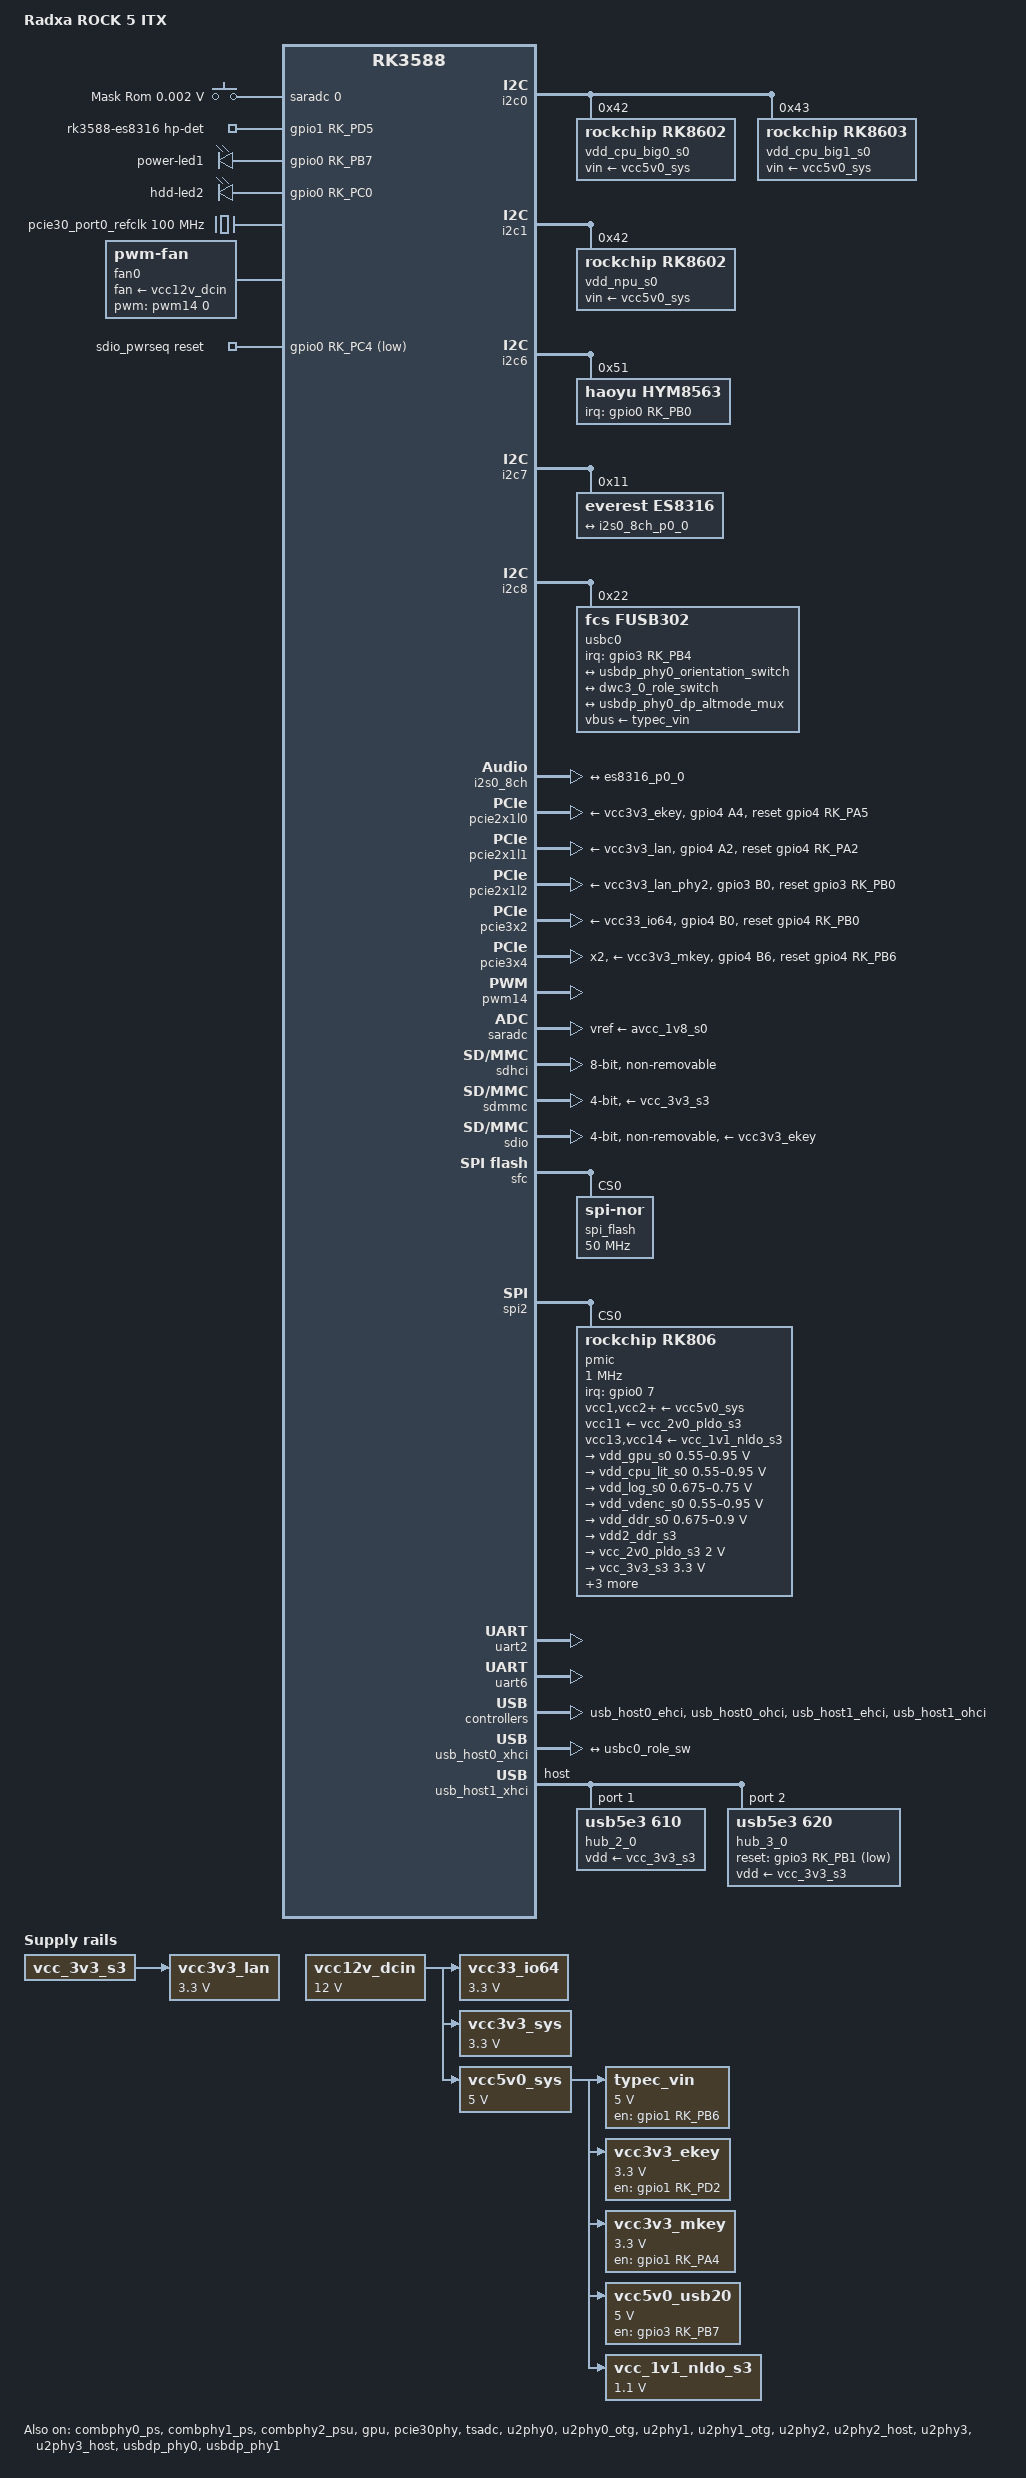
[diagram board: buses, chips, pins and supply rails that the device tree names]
// SPDX-License-Identifier: (GPL-2.0+ OR MIT)
/*
 * Copyright (c) 2024 Radxa Limited
 * Copyright (c) 2024 Heiko Stuebner <heiko@sntech.de>
 */

/dts-v1/;

#include <dt-bindings/gpio/gpio.h>
#include <dt-bindings/input/input.h>
#include <dt-bindings/leds/common.h>
#include <dt-bindings/pinctrl/rockchip.h>
#include <dt-bindings/pwm/pwm.h>
#include "dt-bindings/usb/pd.h"
#include "rk3588.dtsi"

/ {
	model = "Radxa ROCK 5 ITX";
	compatible = "radxa,rock-5-itx", "rockchip,rk3588";

	aliases {
		mmc0 = &sdhci;
		mmc1 = &sdmmc;
		mmc2 = &sdio;
	};

	chosen {
		stdout-path = "serial2:1500000n8";
	};

	adc_keys: adc-keys {
		compatible = "adc-keys";
		io-channels = <&saradc 0>;
		io-channel-names = "buttons";
		keyup-threshold-microvolt = <1800000>;
		poll-interval = <100>;

		button-maskrom {
			label = "Mask Rom";
			linux,code = <KEY_SETUP>;
			press-threshold-microvolt = <1750>;
		};
	};

	analog-sound {
		compatible = "audio-graph-card";
		label = "rk3588-es8316";
		dais = <&i2s0_8ch_p0>;
		hp-det-gpios = <&gpio1 RK_PD5 GPIO_ACTIVE_HIGH>;
		pinctrl-names = "default";
		pinctrl-0 = <&hp_detect>;
		routing = "MIC2", "Mic Jack",
			  "Headphones", "HPOL",
			  "Headphones", "HPOR";
		widgets = "Microphone", "Mic Jack",
			  "Headphone", "Headphones";
	};

	gpio-leds {
		compatible = "gpio-leds";
		pinctrl-names = "default";
		pinctrl-0 = <&led_pins>;

		power-led1 {
			gpios = <&gpio0 RK_PB7 GPIO_ACTIVE_HIGH>;
			linux,default-trigger = "default-on";
		};

		hdd-led2 {
			gpios = <&gpio0 RK_PC0 GPIO_ACTIVE_HIGH>;
			linux,default-trigger = "disk-activity";
		};
	};

	/* Unnamed gated oscillator: 100MHz,3.3V,3225 */
	pcie30_port0_refclk: pcie30_port1_refclk: pcie-oscillator {
		compatible = "gated-fixed-clock";
		#clock-cells = <0>;
		clock-frequency = <100000000>;
		clock-output-names = "pcie30_refclk";
		vdd-supply = <&vcc3v3_pi6c_05>;
	};

	fan0: pwm-fan {
		compatible = "pwm-fan";
		#cooling-cells = <2>;
		cooling-levels = <0 64 128 192 255>;
		fan-supply = <&vcc12v_dcin>;
		pwms = <&pwm14 0 10000 0>;
	};

	/* M.2 E-KEY */
	sdio_pwrseq: sdio-pwrseq {
		compatible = "mmc-pwrseq-simple";
		clocks = <&hym8563>;
		clock-names = "ext_clock";
		pinctrl-names = "default";
		pinctrl-0 = <&wifi_enable_h>;
		reset-gpios = <&gpio0 RK_PC4 GPIO_ACTIVE_LOW>;
	};

	typec_vin: regulator-typec-vin {
		compatible = "regulator-fixed";
		enable-active-high;
		gpio = <&gpio1 RK_PB6 GPIO_ACTIVE_HIGH>;
		pinctrl-names = "default";
		pinctrl-0 = <&vbus5v0_typec_en>;
		regulator-name = "typec_vin";
		regulator-min-microvolt = <5000000>;
		regulator-max-microvolt = <5000000>;
		vin-supply = <&vcc5v0_sys>;
	};

	vcc12v_dcin: regulator-vcc12v-dcin {
		compatible = "regulator-fixed";
		regulator-name = "vcc12v_dcin";
		regulator-always-on;
		regulator-boot-on;
		regulator-min-microvolt = <12000000>;
		regulator-max-microvolt = <12000000>;
	};

	vcc33_io64: regulator-vcc33-io64 {
		compatible = "regulator-fixed";
		regulator-name = "vcc33_io64";
		regulator-always-on;
		regulator-boot-on;
		regulator-min-microvolt = <3300000>;
		regulator-max-microvolt = <3300000>;
		vin-supply = <&vcc12v_dcin>;
	};

	vcc3v3_ekey: regulator-vcc3v3-ekey {
		compatible = "regulator-fixed";
		enable-active-high;
		gpios = <&gpio1 RK_PD2 GPIO_ACTIVE_HIGH>;
		pinctrl-names = "default";
		pinctrl-0 = <&ekey_en>;
		regulator-name = "vcc3v3_ekey";
		regulator-always-on;
		regulator-boot-on;
		regulator-min-microvolt = <3300000>;
		regulator-max-microvolt = <3300000>;
		startup-delay-us = <50000>;
		vin-supply = <&vcc5v0_sys>;
	};

	vcc3v3_lan: vcc3v3_lan_phy2: regulator-vcc3v3-lan {
		compatible = "regulator-fixed";
		regulator-name = "vcc3v3_lan";
		regulator-always-on;
		regulator-boot-on;
		regulator-min-microvolt = <3300000>;
		regulator-max-microvolt = <3300000>;
		vin-supply = <&vcc_3v3_s3>;
	};

	/* The PCIE30x4_PWREN_H controls two regulators */
	vcc3v3_mkey: vcc3v3_pi6c_05: regulator-vcc3v3-pi6c-05 {
		compatible = "regulator-fixed";
		enable-active-high;
		gpios = <&gpio1 RK_PA4 GPIO_ACTIVE_HIGH>;
		pinctrl-names = "default";
		pinctrl-0 = <&pcie30x4_pwren_h>;
		regulator-name = "vcc3v3_pi6c_05";
		regulator-min-microvolt = <3300000>;
		regulator-max-microvolt = <3300000>;
		startup-delay-us = <5000>;
		vin-supply = <&vcc5v0_sys>;
	};

	vcc3v3_sys: regulator-vcc3v3-sys {
		compatible = "regulator-fixed";
		regulator-name = "vcc3v3_sys";
		regulator-always-on;
		regulator-boot-on;
		regulator-min-microvolt = <3300000>;
		regulator-max-microvolt = <3300000>;
		vin-supply = <&vcc12v_dcin>;
	};

	vcc5v0_sys: regulator-vcc5v0-sys {
		compatible = "regulator-fixed";
		regulator-name = "vcc5v0_sys";
		regulator-always-on;
		regulator-boot-on;
		regulator-min-microvolt = <5000000>;
		regulator-max-microvolt = <5000000>;
		vin-supply = <&vcc12v_dcin>;
	};

	vcc5v0_usb20: vcc5v0_usb12: vcc5v0_usb34: regulator-vcc5v0-usb {
		compatible = "regulator-fixed";
		enable-active-high;
		gpio = <&gpio3 RK_PB7 GPIO_ACTIVE_HIGH>;
		pinctrl-names = "default";
		pinctrl-0 = <&usb_host_pwren_h>;
		regulator-name = "vcc5v0_usb";
		regulator-min-microvolt = <5000000>;
		regulator-max-microvolt = <5000000>;
		vin-supply = <&vcc5v0_sys>;
	};

	vcc_1v1_nldo_s3: regulator-vcc-1v1-nldo-s3 {
		compatible = "regulator-fixed";
		regulator-name = "vcc_1v1_nldo_s3";
		regulator-always-on;
		regulator-boot-on;
		regulator-min-microvolt = <1100000>;
		regulator-max-microvolt = <1100000>;
		vin-supply = <&vcc5v0_sys>;
	};
};

&combphy0_ps {
	status = "okay";
};

&combphy1_ps {
	status = "okay";
};

&combphy2_psu {
	status = "okay";
};

&cpu_b0 {
	cpu-supply = <&vdd_cpu_big0_s0>;
};

&cpu_b1 {
	cpu-supply = <&vdd_cpu_big0_s0>;
};

&cpu_b2 {
	cpu-supply = <&vdd_cpu_big1_s0>;
};

&cpu_b3 {
	cpu-supply = <&vdd_cpu_big1_s0>;
};

&cpu_l0 {
	cpu-supply = <&vdd_cpu_lit_s0>;
};

&cpu_l1 {
	cpu-supply = <&vdd_cpu_lit_s0>;
};

&cpu_l2 {
	cpu-supply = <&vdd_cpu_lit_s0>;
};

&cpu_l3 {
	cpu-supply = <&vdd_cpu_lit_s0>;
};

&gpu {
	mali-supply = <&vdd_gpu_s0>;
	status = "okay";
};

&i2c0 {
	pinctrl-names = "default";
	pinctrl-0 = <&i2c0m2_xfer>;
	status = "okay";

	vdd_cpu_big0_s0: regulator@42 {
		compatible = "rockchip,rk8602";
		reg = <0x42>;
		fcs,suspend-voltage-selector = <1>;
		regulator-name = "vdd_cpu_big0_s0";
		regulator-always-on;
		regulator-boot-on;
		regulator-min-microvolt = <550000>;
		regulator-max-microvolt = <1050000>;
		regulator-ramp-delay = <2300>;
		vin-supply = <&vcc5v0_sys>;

		regulator-state-mem {
			regulator-off-in-suspend;
		};
	};

	vdd_cpu_big1_s0: regulator@43 {
		compatible = "rockchip,rk8603", "rockchip,rk8602";
		reg = <0x43>;
		fcs,suspend-voltage-selector = <1>;
		regulator-name = "vdd_cpu_big1_s0";
		regulator-always-on;
		regulator-boot-on;
		regulator-min-microvolt = <550000>;
		regulator-max-microvolt = <1050000>;
		regulator-ramp-delay = <2300>;
		vin-supply = <&vcc5v0_sys>;

		regulator-state-mem {
			regulator-off-in-suspend;
		};
	};
};

&i2c1 {
	pinctrl-names = "default";
	pinctrl-0 = <&i2c1m2_xfer>;
	status = "okay";

	vdd_npu_s0: regulator@42 {
		compatible = "rockchip,rk8602";
		reg = <0x42>;
		fcs,suspend-voltage-selector = <1>;
		regulator-name = "vdd_npu_s0";
		regulator-always-on;
		regulator-boot-on;
		regulator-min-microvolt = <550000>;
		regulator-max-microvolt = <950000>;
		regulator-ramp-delay = <2300>;
		vin-supply = <&vcc5v0_sys>;

		regulator-state-mem {
			regulator-off-in-suspend;
		};
	};
};

/* CAM0 connector */
&i2c3 {
	pinctrl-names = "default";
	pinctrl-0 = <&i2c3m0_xfer>;
};

/* M.2 E-key */
&i2c4 {
	pinctrl-names = "default";
	pinctrl-0 = <&i2c4m1_xfer>;
};

/* RTC and LCD0 connector */
&i2c6 {
	pinctrl-names = "default";
	pinctrl-0 = <&i2c6m0_xfer>;
	status = "okay";

	hym8563: rtc@51 {
		compatible = "haoyu,hym8563";
		reg = <0x51>;
		#clock-cells = <0>;
		clock-output-names = "wifi_32kout";
		interrupt-parent = <&gpio0>;
		interrupts = <RK_PB0 IRQ_TYPE_LEVEL_LOW>;
		pinctrl-names = "default";
		pinctrl-0 = <&rtc_int>;
	};
};

/* Audio codec and CAM1 connector */
&i2c7 {
	pinctrl-names = "default";
	pinctrl-0 = <&i2c7m0_xfer>;
	status = "okay";

	es8316: audio-codec@11 {
		compatible = "everest,es8316";
		reg = <0x11>;
		assigned-clocks = <&cru I2S0_8CH_MCLKOUT>;
		assigned-clock-rates = <12288000>;
		clocks = <&cru I2S0_8CH_MCLKOUT>;
		clock-names = "mclk";
		#sound-dai-cells = <0>;

		port {
			es8316_p0_0: endpoint {
				remote-endpoint = <&i2s0_8ch_p0_0>;
			};
		};
	};
};

/* FUSB302 and LCD1 connector */
&i2c8 {
	pinctrl-names = "default";
	pinctrl-0 = <&i2c8m4_xfer>;
	status = "okay";

	usbc0: usb-typec@22 {
		compatible = "fcs,fusb302";
		reg = <0x22>;
		interrupt-parent = <&gpio3>;
		interrupts = <RK_PB4 IRQ_TYPE_LEVEL_LOW>;
		pinctrl-names = "default";
		pinctrl-0 = <&usbc0_int>;
		vbus-supply = <&typec_vin>;

		usb_con: connector {
			compatible = "usb-c-connector";
			data-role = "dual";
			label = "USB-C";
			power-role = "source";
			source-pdos =
				<PDO_FIXED(5000, 3000, PDO_FIXED_USB_COMM)>;

			ports {
				#address-cells = <1>;
				#size-cells = <0>;

				port@0 {
					reg = <0>;

					usbc0_orien_sw: endpoint {
						remote-endpoint = <&usbdp_phy0_orientation_switch>;
					};
				};

				port@1 {
					reg = <1>;

					usbc0_role_sw: endpoint {
						remote-endpoint = <&dwc3_0_role_switch>;
					};
				};

				port@2 {
					reg = <2>;

					dp_altmode_mux: endpoint {
						remote-endpoint = <&usbdp_phy0_dp_altmode_mux>;
					};
				};
			};
		};
	};
};

&i2c8m4_xfer {
	rockchip,pins =
		/* i2c8_scl_m4 */
		<3 RK_PC2 9 &pcfg_pull_up_drv_level_6>,
		/* i2c8_sda_m4 */
		<3 RK_PC3 9 &pcfg_pull_up_drv_level_6>;
};

&i2s0_8ch {
	pinctrl-names = "default";
	pinctrl-0 = <&i2s0_lrck
		     &i2s0_mclk
		     &i2s0_sclk
		     &i2s0_sdi0
		     &i2s0_sdo0>;
	status = "okay";

	i2s0_8ch_p0: port {
		i2s0_8ch_p0_0: endpoint {
			dai-format = "i2s";
			mclk-fs = <256>;
			remote-endpoint = <&es8316_p0_0>;
		};
	};
};

&package_thermal {
	polling-delay = <1000>;

	trips {
		package_fan0: package-fan0 {
			hysteresis = <2000>;
			temperature = <50000>;
			type = "active";
		};

		package_fan1: package-fan1 {
			hysteresis = <2000>;
			temperature = <65000>;
			type = "active";
		};
	};

	cooling-maps {
		map0 {
			cooling-device = <&fan0 THERMAL_NO_LIMIT 1>;
			trip = <&package_fan0>;
		};
		map1 {
			cooling-device = <&fan0 2 THERMAL_NO_LIMIT>;
			trip = <&package_fan1>;
		};
	};
};

/* M.2 E-key */
&pcie2x1l0 {
	pinctrl-names = "default";
	pinctrl-0 = <&pcie30x1_0_perstn_m1_l>;
	reset-gpios = <&gpio4 RK_PA5 GPIO_ACTIVE_HIGH>;
	vpcie3v3-supply = <&vcc3v3_ekey>;
	status = "okay";
};

/* RTL8125B_1 */
&pcie2x1l1 {
	pinctrl-names = "default";
	pinctrl-0 = <&pcie30x1_1_perstn>;
	reset-gpios = <&gpio4 RK_PA2 GPIO_ACTIVE_HIGH>;
	vpcie3v3-supply = <&vcc3v3_lan>;
	status = "okay";
};

/* RTL8125B_2 */
&pcie2x1l2 {
	pinctrl-names = "default";
	pinctrl-0 = <&pcie20x1_2_perstn>;
	reset-gpios = <&gpio3 RK_PB0 GPIO_ACTIVE_HIGH>;
	vpcie3v3-supply = <&vcc3v3_lan_phy2>;
	status = "okay";
};

&pcie30phy {
	data-lanes = <1 1 2 2>;
	/* separate clock lines from the clock generator to phy and devices */
	rockchip,rx-common-refclk-mode = <0 0 0 0>;
	status = "okay";
};

/* ASMedia ASM1164 Sata controller */
&pcie3x2 {
	/*
	 * The board has a "pcie_refclk" oscillator that needs enabling,
	 * so add it to the list of clocks.
	 */
	clocks = <&cru ACLK_PCIE_2L_MSTR>, <&cru ACLK_PCIE_2L_SLV>,
		 <&cru ACLK_PCIE_2L_DBI>, <&cru PCLK_PCIE_2L>,
		 <&cru CLK_PCIE_AUX1>, <&cru CLK_PCIE2L_PIPE>,
		 <&pcie30_port1_refclk>;
	clock-names = "aclk_mst", "aclk_slv",
		      "aclk_dbi", "pclk",
		      "aux", "pipe",
		      "ref";
	pinctrl-names = "default";
	pinctrl-0 = <&pcie30x2_perstn_m1_l>;
	reset-gpios = <&gpio4 RK_PB0 GPIO_ACTIVE_HIGH>;
	vpcie3v3-supply = <&vcc33_io64>;
	status = "okay";
};

/* M.2 M.key */
&pcie3x4 {
	/*
	 * The board has a "pcie_refclk" oscillator that needs enabling,
	 * so add it to the list of clocks.
	 */
	clocks = <&cru ACLK_PCIE_4L_MSTR>, <&cru ACLK_PCIE_4L_SLV>,
		 <&cru ACLK_PCIE_4L_DBI>, <&cru PCLK_PCIE_4L>,
		 <&cru CLK_PCIE_AUX0>, <&cru CLK_PCIE4L_PIPE>,
		 <&pcie30_port0_refclk>;
	clock-names = "aclk_mst", "aclk_slv",
		      "aclk_dbi", "pclk",
		      "aux", "pipe",
		      "ref";
	num-lanes = <2>;
	pinctrl-names = "default";
	pinctrl-0 = <&pcie30x4_perstn_m1_l>;
	reset-gpios = <&gpio4 RK_PB6 GPIO_ACTIVE_HIGH>;
	vpcie3v3-supply = <&vcc3v3_mkey>;
	status = "okay";
};

&pinctrl {
	hym8563 {
		rtc_int: rtc-int {
			rockchip,pins = <0 RK_PB0 RK_FUNC_GPIO &pcfg_pull_none>;
		};
	};

	leds {
		led_pins: led-pins {
			rockchip,pins = <0 RK_PB7 RK_FUNC_GPIO &pcfg_pull_none>,
					<0 RK_PC0 RK_FUNC_GPIO &pcfg_pull_none>;
		};
	};

	pcie {
		pcie20x1_2_perstn: pcie20x1-2-perstn {
			rockchip,pins = <3 RK_PB0 RK_FUNC_GPIO &pcfg_pull_none>;
		};

		pcie30x1_0_perstn_m1_l: pcie30x1-0-perstn-m1-l {
			rockchip,pins = <4 RK_PA4 RK_FUNC_GPIO &pcfg_pull_none>;
		};

		pcie30x1_1_perstn: pcie30x1-1-perstn {
			rockchip,pins = <4 RK_PA2 RK_FUNC_GPIO &pcfg_pull_none>;
		};

		pcie30x2_perstn_m1_l: pcie30x2-perstn-m1-l {
			rockchip,pins = <4 RK_PB0 RK_FUNC_GPIO &pcfg_pull_none>;
		};

		pcie30x4_perstn_m1_l: pcie30x4-perstn-m1-l {
			rockchip,pins = <4 RK_PB6 RK_FUNC_GPIO &pcfg_pull_none>;
		};

		ekey_en: ekey-en {
			rockchip,pins = <1 RK_PD2 RK_FUNC_GPIO &pcfg_pull_down>;
		};

		pcie30x4_pwren_h: pcie30x4-pwren-h {
			rockchip,pins = <1 RK_PA4 RK_FUNC_GPIO &pcfg_pull_down>;
		};
	};

	sound {
		hp_detect: hp-detect {
			rockchip,pins = <1 RK_PD5 RK_FUNC_GPIO &pcfg_pull_down>;
		};
	};

	usb {
		usb_host_pwren_h: usb-host-pwren-h {
			rockchip,pins = <3 RK_PB7 RK_FUNC_GPIO &pcfg_pull_none>;
		};

		vcc5v0_otg_en: vcc5v0-otg-en {
			rockchip,pins = <2 RK_PC5 RK_FUNC_GPIO &pcfg_pull_none>;
		};

		gl3523_reset: rl3523-reset {
			rockchip,pins = <3 RK_PB1 RK_FUNC_GPIO &pcfg_pull_none>;
		};
	};

	usb-typec {
		usbc0_int: usbc0-int {
			rockchip,pins = <3 RK_PB4 RK_FUNC_GPIO &pcfg_pull_up>;
		};

		vbus5v0_typec_en: vbus5v0-typec-en {
			rockchip,pins = <1 RK_PB6 RK_FUNC_GPIO &pcfg_pull_none>;
		};
	};

	hdmirx {
		hdmirx_det: hdmirx-det {
			rockchip,pins = <1 RK_PC6 RK_FUNC_GPIO &pcfg_pull_none>;
		};
	};

	sdio-pwrseq {
		wifi_enable_h: wifi-enable-h {
			rockchip,pins = <0 RK_PC4 RK_FUNC_GPIO &pcfg_pull_none>;
		};
	};

	wireless-wlan {
		wifi_host_wake_irq: wifi-host-wake-irq {
			rockchip,pins = <0 RK_PB2 RK_FUNC_GPIO &pcfg_pull_down>;
		};
	};

	bt {
		bt_enable_h: bt-enable-h {
			rockchip,pins = <2 RK_PC5 RK_FUNC_GPIO &pcfg_pull_none>;
		};

		bt_host_wake_l: bt-host-wake-l {
			rockchip,pins = <0 RK_PC5 RK_FUNC_GPIO &pcfg_pull_none>;
		};

		bt_wake_l: bt-wake-l {
			rockchip,pins = <4 RK_PC5 RK_FUNC_GPIO &pcfg_pull_none>;
		};
	};

	dp {
		dp1_hpd: dp1-hpd {
			rockchip,pins = <3 RK_PD5 RK_FUNC_GPIO &pcfg_pull_none>;
		};
	};
};

&pwm14 {
	pinctrl-names = "default";
	pinctrl-0 = <&pwm14m1_pins>;
	status = "okay";
};

&saradc {
	vref-supply = <&avcc_1v8_s0>;
	status = "okay";
};

&sdhci {
	bus-width = <8>;
	max-frequency = <150000000>;
	mmc-hs400-1_8v;
	mmc-hs400-enhanced-strobe;
	no-sdio;
	no-sd;
	non-removable;
	status = "okay";
};

&sdmmc {
	bus-width = <4>;
	cap-mmc-highspeed;
	cap-sd-highspeed;
	disable-wp;
	max-frequency = <200000000>;
	no-sdio;
	no-mmc;
	pinctrl-names = "default";
	pinctrl-0 = <&sdmmc_bus4 &sdmmc_clk &sdmmc_cmd &sdmmc_det>;
	sd-uhs-sdr104;
	vmmc-supply = <&vcc_3v3_s3>;
	vqmmc-supply = <&vccio_sd_s0>;
	status = "okay";
};

/* M.2 E-KEY */
&sdio {
	broken-cd;
	bus-width = <4>;
	cap-sdio-irq;
	keep-power-in-suspend;
	max-frequency = <150000000>;
	mmc-pwrseq = <&sdio_pwrseq>;
	no-sd;
	no-mmc;
	non-removable;
	pinctrl-names = "default";
	pinctrl-0 = <&sdiom0_pins>;
	sd-uhs-sdr104;
	vmmc-supply = <&vcc3v3_ekey>;
	status = "okay";
};

&sfc {
	pinctrl-names = "default";
	pinctrl-0 = <&fspim2_pins>;
	status = "okay";

	spi_flash: flash@0 {
		compatible = "jedec,spi-nor";
		reg = <0x0>;
		spi-max-frequency = <50000000>;
		spi-rx-bus-width = <4>;
		spi-tx-bus-width = <1>;
	};
};

&spi2 {
	status = "okay";
	assigned-clocks = <&cru CLK_SPI2>;
	assigned-clock-rates = <200000000>;
	num-cs = <1>;
	pinctrl-names = "default";
	pinctrl-0 = <&spi2m2_cs0 &spi2m2_pins>;

	pmic@0 {
		compatible = "rockchip,rk806";
		reg = <0x0>;
		gpio-controller;
		#gpio-cells = <2>;
		interrupt-parent = <&gpio0>;
		interrupts = <7 IRQ_TYPE_LEVEL_LOW>;
		pinctrl-names = "default";
		pinctrl-0 = <&pmic_pins>, <&rk806_dvs1_null>,
			    <&rk806_dvs2_null>, <&rk806_dvs3_null>;
		spi-max-frequency = <1000000>;
		system-power-controller;

		vcc1-supply = <&vcc5v0_sys>;
		vcc2-supply = <&vcc5v0_sys>;
		vcc3-supply = <&vcc5v0_sys>;
		vcc4-supply = <&vcc5v0_sys>;
		vcc5-supply = <&vcc5v0_sys>;
		vcc6-supply = <&vcc5v0_sys>;
		vcc7-supply = <&vcc5v0_sys>;
		vcc8-supply = <&vcc5v0_sys>;
		vcc9-supply = <&vcc5v0_sys>;
		vcc10-supply = <&vcc5v0_sys>;
		vcc11-supply = <&vcc_2v0_pldo_s3>;
		vcc12-supply = <&vcc5v0_sys>;
		vcc13-supply = <&vcc_1v1_nldo_s3>;
		vcc14-supply = <&vcc_1v1_nldo_s3>;
		vcca-supply = <&vcc5v0_sys>;

		rk806_dvs1_null: dvs1-null-pins {
			pins = "gpio_pwrctrl1";
			function = "pin_fun0";
		};

		rk806_dvs2_null: dvs2-null-pins {
			pins = "gpio_pwrctrl2";
			function = "pin_fun0";
		};

		rk806_dvs3_null: dvs3-null-pins {
			pins = "gpio_pwrctrl3";
			function = "pin_fun0";
		};

		regulators {
			vdd_gpu_s0: vdd_gpu_mem_s0: dcdc-reg1 {
				regulator-boot-on;
				regulator-min-microvolt = <550000>;
				regulator-max-microvolt = <950000>;
				regulator-ramp-delay = <12500>;
				regulator-name = "vdd_gpu_s0";
				regulator-enable-ramp-delay = <400>;

				regulator-state-mem {
					regulator-off-in-suspend;
				};
			};

			vdd_cpu_lit_s0: vdd_cpu_lit_mem_s0: dcdc-reg2 {
				regulator-always-on;
				regulator-boot-on;
				regulator-min-microvolt = <550000>;
				regulator-max-microvolt = <950000>;
				regulator-ramp-delay = <12500>;
				regulator-name = "vdd_cpu_lit_s0";

				regulator-state-mem {
					regulator-off-in-suspend;
				};
			};

			vdd_log_s0: dcdc-reg3 {
				regulator-always-on;
				regulator-boot-on;
				regulator-min-microvolt = <675000>;
				regulator-max-microvolt = <750000>;
				regulator-ramp-delay = <12500>;
				regulator-name = "vdd_log_s0";

				regulator-state-mem {
					regulator-on-in-suspend;
					regulator-suspend-microvolt = <750000>;
				};
			};

			vdd_vdenc_s0: vdd_vdenc_mem_s0: dcdc-reg4 {
				regulator-always-on;
				regulator-boot-on;
				regulator-min-microvolt = <550000>;
				regulator-max-microvolt = <950000>;
				regulator-ramp-delay = <12500>;
				regulator-name = "vdd_vdenc_s0";

				regulator-state-mem {
					regulator-off-in-suspend;
				};
			};

			vdd_ddr_s0: dcdc-reg5 {
				regulator-always-on;
				regulator-boot-on;
				regulator-min-microvolt = <675000>;
				regulator-max-microvolt = <900000>;
				regulator-ramp-delay = <12500>;
				regulator-name = "vdd_ddr_s0";

				regulator-state-mem {
					regulator-off-in-suspend;
					regulator-suspend-microvolt = <850000>;
				};
			};

			vdd2_ddr_s3: dcdc-reg6 {
				regulator-always-on;
				regulator-boot-on;
				regulator-name = "vdd2_ddr_s3";

				regulator-state-mem {
					regulator-on-in-suspend;
				};
			};

			vcc_2v0_pldo_s3: dcdc-reg7 {
				regulator-always-on;
				regulator-boot-on;
				regulator-min-microvolt = <2000000>;
				regulator-max-microvolt = <2000000>;
				regulator-ramp-delay = <12500>;
				regulator-name = "vdd_2v0_pldo_s3";

				regulator-state-mem {
					regulator-on-in-suspend;
					regulator-suspend-microvolt = <2000000>;
				};
			};

			vcc_3v3_s3: dcdc-reg8 {
				regulator-always-on;
				regulator-boot-on;
				regulator-min-microvolt = <3300000>;
				regulator-max-microvolt = <3300000>;
				regulator-name = "vcc_3v3_s3";

				regulator-state-mem {
					regulator-on-in-suspend;
					regulator-suspend-microvolt = <3300000>;
				};
			};

			vddq_ddr_s0: dcdc-reg9 {
				regulator-always-on;
				regulator-boot-on;
				regulator-name = "vddq_ddr_s0";

				regulator-state-mem {
					regulator-off-in-suspend;
				};
			};

			vcc_1v8_s3: dcdc-reg10 {
				regulator-always-on;
				regulator-boot-on;
				regulator-min-microvolt = <1800000>;
				regulator-max-microvolt = <1800000>;
				regulator-name = "vcc_1v8_s3";

				regulator-state-mem {
					regulator-on-in-suspend;
					regulator-suspend-microvolt = <1800000>;
				};
			};

			avcc_1v8_s0: pldo-reg1 {
				regulator-always-on;
				regulator-boot-on;
				regulator-min-microvolt = <1800000>;
				regulator-max-microvolt = <1800000>;
				regulator-name = "avcc_1v8_s0";

				regulator-state-mem {
					regulator-on-in-suspend;
					regulator-suspend-microvolt = <1800000>;
				};
			};

			vcc_1v8_s0: pldo-reg2 {
				regulator-always-on;
				regulator-boot-on;
				regulator-min-microvolt = <1800000>;
				regulator-max-microvolt = <1800000>;
				regulator-name = "vcc_1v8_s0";

				regulator-state-mem {
					regulator-on-in-suspend;
					regulator-suspend-microvolt = <1800000>;
				};
			};

			avdd_1v2_s0: pldo-reg3 {
				regulator-always-on;
				regulator-boot-on;
				regulator-min-microvolt = <1200000>;
				regulator-max-microvolt = <1200000>;
				regulator-name = "avdd_1v2_s0";

				regulator-state-mem {
					regulator-off-in-suspend;
				};
			};

			vcc_3v3_s0: pldo-reg4 {
				regulator-always-on;
				regulator-boot-on;
				regulator-min-microvolt = <3300000>;
				regulator-max-microvolt = <3300000>;
				regulator-ramp-delay = <12500>;
				regulator-name = "vcc_3v3_s0";

				regulator-state-mem {
					regulator-on-in-suspend;
					regulator-suspend-microvolt = <3300000>;
				};
			};

			vccio_sd_s0: pldo-reg5 {
				regulator-always-on;
				regulator-boot-on;
				regulator-min-microvolt = <1800000>;
				regulator-max-microvolt = <3300000>;
				regulator-ramp-delay = <12500>;
				regulator-name = "vccio_sd_s0";

				regulator-state-mem {
					regulator-off-in-suspend;
				};
			};

			pldo6_s3: pldo-reg6 {
				regulator-always-on;
				regulator-boot-on;
				regulator-min-microvolt = <1800000>;
				regulator-max-microvolt = <1800000>;
				regulator-name = "pldo6_s3";

				regulator-state-mem {
					regulator-on-in-suspend;
					regulator-suspend-microvolt = <1800000>;
				};
			};

			vdd_0v75_s3: nldo-reg1 {
				regulator-always-on;
				regulator-boot-on;
				regulator-min-microvolt = <750000>;
				regulator-max-microvolt = <750000>;
				regulator-name = "vdd_0v75_s3";

				regulator-state-mem {
					regulator-on-in-suspend;
					regulator-suspend-microvolt = <750000>;
				};
			};

			vdd_ddr_pll_s0: nldo-reg2 {
				regulator-always-on;
				regulator-boot-on;
				regulator-min-microvolt = <850000>;
				regulator-max-microvolt = <850000>;
				regulator-name = "vdd_ddr_pll_s0";

				regulator-state-mem {
					regulator-on-in-suspend;
					regulator-suspend-microvolt = <850000>;
				};
			};

			avdd_0v75_s0: nldo-reg3 {
				regulator-always-on;
				regulator-boot-on;
				regulator-min-microvolt = <750000>;
				regulator-max-microvolt = <750000>;
				regulator-name = "avdd_0v75_s0";

				regulator-state-mem {
					regulator-off-in-suspend;
				};
			};

			vdd_0v85_s0: nldo-reg4 {
				regulator-always-on;
				regulator-boot-on;
				regulator-min-microvolt = <850000>;
				regulator-max-microvolt = <850000>;
				regulator-name = "vdd_0v85_s0";

				regulator-state-mem {
					regulator-on-in-suspend;
					regulator-suspend-microvolt = <837500>;
				};
			};

			vdd_0v75_s0: nldo-reg5 {
				regulator-always-on;
				regulator-boot-on;
				regulator-min-microvolt = <750000>;
				regulator-max-microvolt = <750000>;
				regulator-name = "vdd_0v75_s0";

				regulator-state-mem {
					regulator-on-in-suspend;
					regulator-suspend-microvolt = <750000>;
				};
			};
		};
	};
};

&tsadc {
	status = "okay";
};

&uart2 {
	pinctrl-0 = <&uart2m0_xfer>;
	status = "okay";
};

/* Connected to M.2 E-key */
&uart6 {
	pinctrl-names = "default";
	pinctrl-0 = <&uart6m1_xfer &uart6m1_ctsn &uart6m1_rtsn>;
	status = "okay";
};

&u2phy0 {
	status = "okay";
};

&u2phy0_otg {
	status = "okay";
};

&u2phy1 {
	status = "okay";
};

&u2phy1_otg {
	/* connected to USB3 hub, which is powered by vcc5v0_usb12 */
	phy-supply = <&vcc5v0_usb12>;
	status = "okay";
};

&u2phy2 {
	status = "okay";
};

&u2phy2_host {
	/* connected to USB2 hub, which is powered by vcc5v0_usb20 */
	phy-supply = <&vcc5v0_usb20>;
	status = "okay";
};

&u2phy3 {
	status = "okay";
};

&u2phy3_host {
	phy-supply = <&vcc5v0_usb20>;
	status = "okay";
};

&usb_host0_ehci {
	status = "okay";
};

&usb_host0_ohci {
	status = "okay";
};

&usb_host1_ehci {
	status = "okay";
};

&usb_host1_ohci {
	status = "okay";
};

&usb_host0_xhci {
	usb-role-switch;
	status = "okay";

	port {
		#address-cells = <1>;
		#size-cells = <0>;

		dwc3_0_role_switch: endpoint@0 {
			reg = <0>;
			remote-endpoint = <&usbc0_role_sw>;
		};
	};
};

&usb_host1_xhci {
	dr_mode = "host";
	#address-cells = <1>;
	#size-cells = <0>;
	status = "okay";

	/* 2.0 hub on port 1 */
	hub_2_0: hub@1 {
		compatible = "usb5e3,610";
		reg = <1>;
		peer-hub = <&hub_3_0>;
		vdd-supply = <&vcc_3v3_s3>;
	};

	/* 3.0 hub on port 4 */
	hub_3_0: hub@2 {
		compatible = "usb5e3,620";
		reg = <2>;
		peer-hub = <&hub_2_0>;
		pinctrl-names = "default";
		pinctrl-0 = <&gl3523_reset>;
		reset-gpios = <&gpio3 RK_PB1 GPIO_ACTIVE_LOW>;
		vdd-supply = <&vcc_3v3_s3>;
	};
};

&usbdp_phy0 {
	mode-switch;
	orientation-switch;
	sbu1-dc-gpios = <&gpio4 RK_PB7 GPIO_ACTIVE_HIGH>;
	sbu2-dc-gpios = <&gpio4 RK_PC0 GPIO_ACTIVE_HIGH>;
	status = "okay";

	port {
		#address-cells = <1>;
		#size-cells = <0>;
		usbdp_phy0_orientation_switch: endpoint@0 {
			reg = <0>;
			remote-endpoint = <&usbc0_orien_sw>;
		};

		usbdp_phy0_dp_altmode_mux: endpoint@1 {
			reg = <1>;
			remote-endpoint = <&dp_altmode_mux>;
		};
	};
};

&usbdp_phy1 {
	rockchip,dp-lane-mux = <2 3>;
	status = "okay";
};
